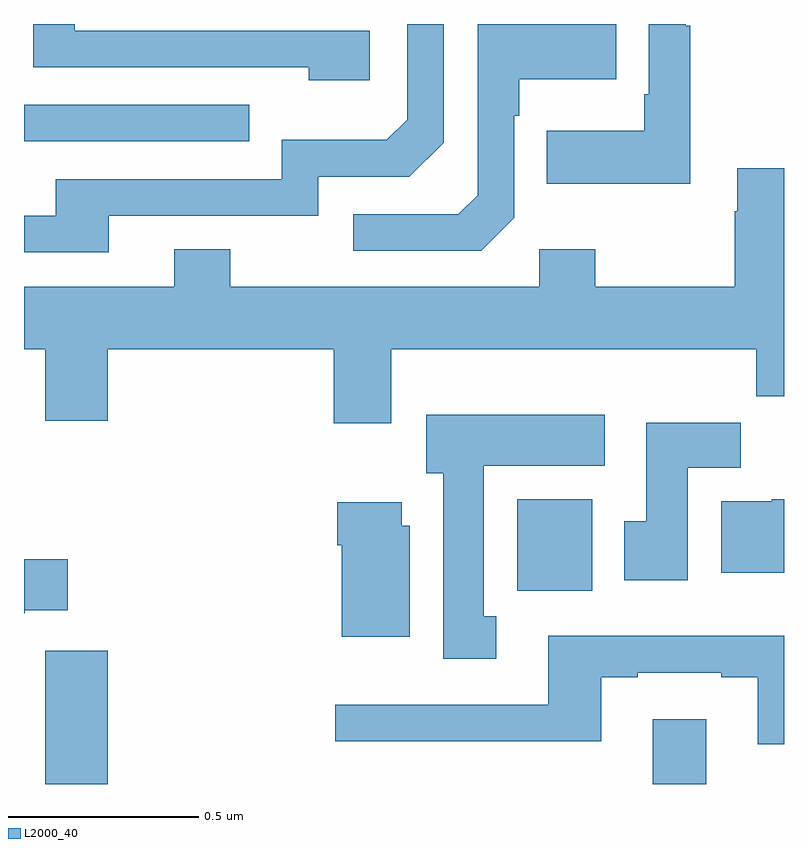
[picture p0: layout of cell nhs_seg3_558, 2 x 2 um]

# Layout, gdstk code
import gdstk
lib = gdstk.Library(unit=1e-6, precision=1e-09)
def R(c, l, rs):  # rectangles x0, y0, x1, y1
    for r in rs: c.add(gdstk.rectangle(r[:2], r[2:], *l))
def P(c, l, *ps):  # polygons
    for p in ps: c.add(gdstk.Polygon(p, *l))
L2000_40 = (2000, 40)

nhs_seg3_558 = lib.new_cell('nhs_seg3_558')
R(nhs_seg3_558, L2000_40, [(117.056,738.4,117.22,738.751), (118.655,738.4,118.795,738.571), (118.298,738.908,118.495,739.15), (117,740.091,117.593,740.187)])
P(nhs_seg3_558, L2000_40, [(118.753,740.395),(118.741,740.395),(118.741,740.4),(118.644,740.4),(118.644,740.215),(118.632,740.215),(118.632,740.119),(118.375,740.119),(118.375,739.979),(118.753,739.979)],
  [(117.223,739.896),(117.774,739.896),(117.774,739.998),(118.014,739.998),(118.104,740.088),(118.104,740.4),(118.008,740.4),(118.008,740.148),(117.955,740.095),(117.678,740.095),(117.678,739.992),(117.083,739.992),(117.083,739.896),(117,739.896),(117,739.8),(117.223,739.8)],
  [(118.29,739.89),(118.29,740.159),(118.303,740.159),(118.303,740.255),(118.559,740.255),(118.559,740.4),(118.194,740.4),(118.194,739.95),(118.143,739.899),(117.867,739.899),(117.867,739.803),(118.203,739.803)],
  [(117.91,740.382),(117.133,740.382),(117.133,740.4),(117.024,740.4),(117.024,740.286),(117.749,740.286),(117.749,740.252),(117.91,740.252)],
  [(117.967,739.544),(118.927,739.544),(118.927,739.42),(119,739.42),(119,740.02),(118.877,740.02),(118.877,739.907),(118.87,739.907),(118.87,739.708),(118.503,739.708),(118.503,739.807),(118.356,739.807),(118.356,739.708),(117.543,739.708),(117.543,739.807),(117.395,739.807),(117.395,739.708),(117,739.708),(117,739.544),(117.056,739.544),(117.056,739.356),(117.22,739.356),(117.22,739.544),(117.815,739.544),(117.815,739.35),(117.967,739.35)],
  [(118.243,738.842),(118.21,738.842),(118.21,739.238),(118.528,739.238),(118.528,739.372),(118.058,739.372),(118.058,739.218),(118.103,739.218),(118.103,738.729),(118.243,738.729)],
  [(118.747,739.232),(118.886,739.232),(118.886,739.351),(118.637,739.351),(118.637,739.092),(118.58,739.092),(118.58,738.936),(118.747,738.936)],
  [(119,739.15),(118.968,739.15),(118.968,739.144),(118.835,739.144),(118.835,738.956),(119,738.956)],
  [(118.015,739.08),(117.994,739.08),(117.994,739.141),(117.824,739.141),(117.824,739.028),(117.836,739.028),(117.836,738.788),(118.015,738.788)],
  [(117.002,738.857),(117.115,738.857),(117.115,738.992),(117,738.992),(117,738.85),(117.002,738.85)],
  [(119,738.79),(118.379,738.79),(118.379,738.609),(117.819,738.609),(117.819,738.512),(118.519,738.512),(118.519,738.681),(118.615,738.681),(118.615,738.693),(118.835,738.693),(118.835,738.681),(118.931,738.681),(118.931,738.504),(119,738.504)])

lib.write_gds('nhs_seg3_558.gds')
